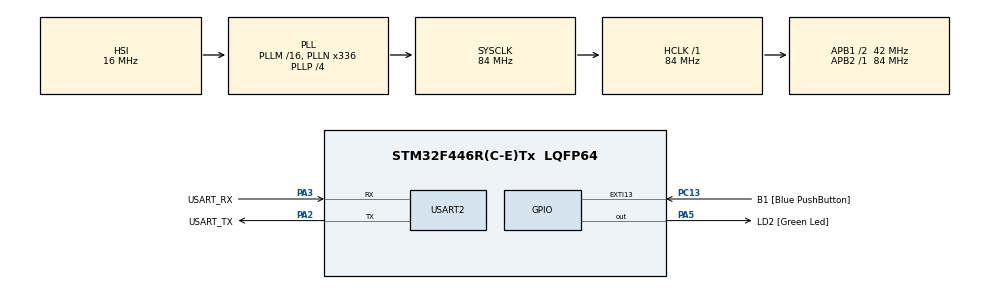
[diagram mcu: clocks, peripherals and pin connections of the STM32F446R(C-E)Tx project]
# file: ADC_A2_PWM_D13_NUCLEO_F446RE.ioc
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Mcu.Family=STM32F4
Mcu.Name=STM32F446R(C-E)Tx
Mcu.Package=LQFP64
NVIC.PriorityGroup=NVIC_PRIORITYGROUP_0
PA13.GPIO_Label=TMS
PA13.Mode=Serial_Wire
PA13.Signal=SYS_JTMS-SWDIO
PA14.GPIO_Label=TCK
PA14.Mode=Serial_Wire
PA14.Signal=SYS_JTCK-SWCLK
PA2.GPIO_Label=USART_TX
PA2.Mode=Asynchronous
PA2.Signal=USART2_TX
PA3.GPIO_Label=USART_RX
PA3.Mode=Asynchronous
PA3.Signal=USART2_RX
PA5.GPIO_Label=LD2 [Green Led]
PA5.Signal=GPIO_Output
PB3.GPIO_Label=SWO
PB3.Signal=SYS_JTDO-SWO
PC13.GPIO_Label=B1 [Blue PushButton]
PC13.GPIO_ModeDefaultEXTI=GPIO_MODE_IT_FALLING
PC13.Signal=GPXTI13
PC14-OSC32_IN.Mode=LSE-External-Oscillator
PC14-OSC32_IN.Signal=RCC_OSC32_IN
PC15-OSC32_OUT.Mode=LSE-External-Oscillator
PC15-OSC32_OUT.Signal=RCC_OSC32_OUT
PH0-OSC_IN.Mode=HSE-External-Oscillator
PH0-OSC_IN.Signal=RCC_OSC_IN
PH1-OSC_OUT.Mode=HSE-External-Oscillator
PH1-OSC_OUT.Signal=RCC_OSC_OUT
ProjectManager.HeapSize=0x200
ProjectManager.StackSize=0x400
ProjectManager.TargetToolchain=STM32CubeIDE
RCC.48MHZClocksFreq_Value=84000000
RCC.AHBFreq_Value=84000000
RCC.APB1CLKDivider=RCC_HCLK_DIV2
RCC.APB1Freq_Value=42000000
RCC.APB1TimFreq_Value=84000000
RCC.APB2Freq_Value=84000000
RCC.APB2TimFreq_Value=84000000
RCC.CortexFreq_Value=84000000
RCC.FLatency-AdvancedSettings=FLASH_LATENCY_2
RCC.HCLKFreq_Value=84000000
RCC.HSE_VALUE=8000000
RCC.HSI_VALUE=16000000
RCC.PLLN=336
RCC.PLLP=RCC_PLLP_DIV4
RCC.SYSCLKFreq_VALUE=84000000
RCC.SYSCLKSource=RCC_SYSCLKSOURCE_PLLCLK
RCC.USBFreq_Value=168000000
RCC.VCOOutputFreq_Value=336000000
USART2.VirtualMode=VM_ASYNC
board=NUCLEO-F446RE

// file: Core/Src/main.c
/* USER CODE BEGIN Header */
/**
  ******************************************************************************
  * @file           : main.c
  * @brief          : Main program body
  * Este programa lee un potenciómetro conectado a A2 / PA4 mediante ADC1_IN4.
  * La lectura del ADC se realiza por polling y entrega un valor entre 0 y 4095.
  * Ese valor se escala al rango 0 a 1000 y se escribe en TIM2->CCR1, que define
  * el duty cycle de una señal PWM de 1 kHz generada por TIM2_CH1. La señal PWM
  * sale por PA5 / D13 / LD2. Al mover el potenciómetro, la frecuencia se
  * mantiene fija y cambia el ancho del pulso en alto.
  ******************************************************************************
  * @attention
  *
  * Copyright (c) 2026 STMicroelectronics.
  * All rights reserved.
  *
  * This software is licensed under terms that can be found in the LICENSE file
  * in the root directory of this software component.
  * If no LICENSE file comes with this software, it is provided AS-IS.
  *
  ******************************************************************************
  */
/* USER CODE END Header */
#include "main.h"

/* USER CODE BEGIN PD */
#define ADC_MAX_VALUE          4095UL
#define PWM_PERIOD_COUNTS      1000UL   /* ARR + 1 */
/* USER CODE END PD */

UART_HandleTypeDef huart2;

void SystemClock_Config(void);
static void MX_GPIO_Init(void);
static void MX_USART2_UART_Init(void);

/* USER CODE BEGIN PFP */
static void ADC1_PA4_Init_ByRegisters(void);
static uint32_t ADC1_ReadRaw(void);

static void TIM2_CH1_PA5_PWM_Init_ByRegisters(void);
static void PWM_SetDutyFromADC(uint32_t adc_raw);
/* USER CODE END PFP */

/* USER CODE BEGIN 0 */
/* -------------------------------------------------------------
 * ADC1 en PA4 / A2
 * -------------------------------------------------------------
 * A2 en la NUCLEO-F446RE está conectado a PA4.
 * PA4 puede funcionar como ADC1_IN4.
 */
static void ADC1_PA4_Init_ByRegisters(void)
{
    /*
     * 1. Habilitar reloj de GPIOA
     */
    RCC->AHB1ENR |= RCC_AHB1ENR_GPIOAEN;
    (void)RCC->AHB1ENR;

    /*
     * 2. Configurar PA4 en modo analógico
     *
     * MODER4 = 11 → analog mode
     */
    GPIOA->MODER |= (3UL << (4U * 2U));

    /*
     * 3. Sin pull-up ni pull-down
     */
    GPIOA->PUPDR &= ~(3UL << (4U * 2U));

    /*
     * 4. Habilitar reloj de ADC1
     *
     * ADC1 pertenece al bus APB2.
     */
    RCC->APB2ENR |= RCC_APB2ENR_ADC1EN;
    (void)RCC->APB2ENR;

    /*
     * 5. Configurar prescaler común del ADC
     *
     * PCLK2 = 84 MHz
     * ADC clock = PCLK2 / 4 = 21 MHz
     *
     * En ADC->CCR, ADCPRE[1:0] está en bits 17:16.
     * 01 → PCLK2 dividido por 4.
     */
    ADC->CCR &= ~(3UL << 16U);
    ADC->CCR |=  (1UL << 16U);

    /*
     * 6. Configuración básica del ADC
     *
     * CR1 = 0:
     * - Resolución por defecto: 12 bits
     * - Scan mode deshabilitado
     *
     * CR2 = 0:
     * - Conversión continua deshabilitada
     * - Alineación a la derecha
     * - Disparo por software
     */
    ADC1->CR1 = 0U;
    ADC1->CR2 = 0U;

    /*
     * 7. Tiempo de muestreo para el canal 4
     *
     * Canal 4 usa SMP4 en ADC_SMPR2[14:12].
     * Valor 100 → 84 ciclos de ADC.
     */
    ADC1->SMPR2 &= ~(7UL << (4U * 3U));
    ADC1->SMPR2 |=  (4UL << (4U * 3U));

    /*
     * 8. Secuencia regular de una sola conversión
     *
     * L = 0000 → 1 conversión.
     */
    ADC1->SQR1 &= ~(0xFUL << 20U);

    /*
     * 9. Primera conversión de la secuencia: canal 4
     *
     * SQ1 = 4 → ADC_CHANNEL_4.
     */
    ADC1->SQR3 &= ~(0x1FUL << 0U);
    ADC1->SQR3 |=  (4UL << 0U);

    /*
     * 10. Asegurar alineación a la derecha,
     * conversión simple y disparo por software.
     */
    ADC1->CR2 &= ~ADC_CR2_ALIGN;
    ADC1->CR2 &= ~ADC_CR2_CONT;
    ADC1->CR2 &= ~ADC_CR2_EXTEN;

    /*
     * 11. Encender ADC1
     */
    ADC1->CR2 |= ADC_CR2_ADON;

    /*
     * Pequeña espera para estabilización.
     */
    HAL_Delay(1);
}

static uint32_t ADC1_ReadRaw(void)
{
    /*
     * Limpiar flag EOC antes de iniciar.
     */
    ADC1->SR &= ~ADC_SR_EOC;

    /*
     * Iniciar conversión regular por software.
     */
    ADC1->CR2 |= ADC_CR2_SWSTART;

    /*
     * Esperar hasta que termine la conversión.
     */
    while ((ADC1->SR & ADC_SR_EOC) == 0U)
    {
        /* Polling */
    }

    /*
     * Leer el registro de datos.
     * Para 12 bits, el valor útil va de 0 a 4095.
     */
    return (ADC1->DR & 0xFFFFUL);
}

/* -------------------------------------------------------------
 * PWM en PA5 / D13 / TIM2_CH1
 * -------------------------------------------------------------
 * PA5 está conectado a D13 y al LED LD2.
 * PA5 puede funcionar como TIM2_CH1 usando AF1.
 */
static void TIM2_CH1_PA5_PWM_Init_ByRegisters(void)
{
    /*
     * 1. Habilitar reloj de GPIOA
     */
    RCC->AHB1ENR |= RCC_AHB1ENR_GPIOAEN;
    (void)RCC->AHB1ENR;

    /*
     * 2. Configurar PA5 como función alternativa
     *
     * MODER5 = 10 → Alternate Function
     */
    GPIOA->MODER &= ~(3UL << (5U * 2U));
    GPIOA->MODER |=  (2UL << (5U * 2U));

    /*
     * 3. Salida push-pull
     */
    GPIOA->OTYPER &= ~(1UL << 5U);

    /*
     * 4. Velocidad alta para una señal PWM limpia
     */
    GPIOA->OSPEEDR &= ~(3UL << (5U * 2U));
    GPIOA->OSPEEDR |=  (2UL << (5U * 2U));

    /*
     * 5. Sin pull-up ni pull-down
     */
    GPIOA->PUPDR &= ~(3UL << (5U * 2U));

    /*
     * 6. Seleccionar AF1 para PA5
     *
     * AF1 corresponde a TIM2_CH1.
     * PA5 está en AFR[0].
     */
    GPIOA->AFR[0] &= ~(0xFUL << (5U * 4U));
    GPIOA->AFR[0] |=  (1UL   << (5U * 4U));

    /*
     * 7. Habilitar reloj de TIM2
     *
     * TIM2 pertenece a APB1.
     * En esta configuración:
     *
     * PCLK1 = 42 MHz
     * APB1 prescaler = /2
     * f_TIM2 = 2 x PCLK1 = 84 MHz
     */
    RCC->APB1ENR |= RCC_APB1ENR_TIM2EN;
    (void)RCC->APB1ENR;

    /*
     * 8. Detener TIM2 durante la configuración.
     */
    TIM2->CR1 &= ~TIM_CR1_CEN;

    /*
     * Queremos PWM de 1 kHz.
     *
     * f_TIM2 = 84 MHz
     *
     * Elegimos:
     * PSC = 83
     *
     * Entonces:
     * f_CNT = 84 MHz / (83 + 1)
     * f_CNT = 1 MHz
     *
     * Luego:
     * ARR = 999
     *
     * Entonces:
     * f_PWM = 1 MHz / (999 + 1)
     * f_PWM = 1 kHz
     */
    TIM2->PSC = 83U;
    TIM2->ARR = 999U;
    TIM2->CNT = 0U;

    /*
     * Duty inicial: 0 %
     */
    TIM2->CCR1 = 0U;

    /*
     * 9. Canal 1 como salida
     *
     * CC1S = 00 → canal configurado como salida.
     */
    TIM2->CCMR1 &= ~TIM_CCMR1_CC1S;

    /*
     * 10. Configurar canal 1 en PWM mode 1
     *
     * OC1M = 110 → PWM mode 1
     *
     * En PWM mode 1:
     * La salida está activa mientras CNT < CCR1.
     */
    TIM2->CCMR1 &= ~TIM_CCMR1_OC1M;
    TIM2->CCMR1 |=  (6UL << 4U);

    /*
     * 11. Habilitar preload de CCR1
     *
     * Esto hace que los cambios de CCR1 se apliquen
     * de forma ordenada en eventos de actualización.
     */
    TIM2->CCMR1 |= TIM_CCMR1_OC1PE;

    /*
     * 12. Polaridad activa en alto y habilitar salida CH1
     */
    TIM2->CCER &= ~TIM_CCER_CC1P;
    TIM2->CCER |=  TIM_CCER_CC1E;

    /*
     * 13. Habilitar preload de ARR
     */
    TIM2->CR1 |= TIM_CR1_ARPE;

    /*
     * 14. Conteo ascendente, edge-aligned
     */
    TIM2->CR1 &= ~TIM_CR1_CMS;
    TIM2->CR1 &= ~TIM_CR1_DIR;

    /*
     * 15. Generar evento de actualización para cargar PSC, ARR y CCR.
     */
    TIM2->EGR |= TIM_EGR_UG;

    /*
     * 16. Arrancar TIM2
     */
    TIM2->CR1 |= TIM_CR1_CEN;
}

static void PWM_SetDutyFromADC(uint32_t adc_raw)
{
    uint32_t ccr_value;

    /*
     * Limitar por seguridad el valor leído.
     */
    if (adc_raw > ADC_MAX_VALUE)
    {
        adc_raw = ADC_MAX_VALUE;
    }

    /*
     * Escalado:
     *
     * ADC:  0 a 4095
     * PWM:  0 a 1000 cuentas
     *
     * Como ARR = 999, el período tiene 1000 cuentas.
     *
     * CCR1 = 0    → 0 %
     * CCR1 = 500  → 50 %
     * CCR1 = 1000 → 100 %
     */
    ccr_value = (adc_raw * PWM_PERIOD_COUNTS) / ADC_MAX_VALUE;

    /*
     * Actualizar duty cycle.
     * El hardware del timer genera la PWM automáticamente.
     */
    TIM2->CCR1 = ccr_value;
}

/* USER CODE END 0 */

int main(void)
{

  /* MCU Configuration--------------------------------------------------------*/

  /* Reset of all peripherals, Initializes the Flash interface and the Systick. */
  HAL_Init();

  /* Configure the system clock */
  SystemClock_Config();

  /* Initialize all configured peripherals */
  MX_GPIO_Init();
  MX_USART2_UART_Init();
  /* USER CODE BEGIN 2 */
  ADC1_PA4_Init_ByRegisters();
  TIM2_CH1_PA5_PWM_Init_ByRegisters();
  /* USER CODE END 2 */

  /* Infinite loop */
  while (1)
  {

    /* USER CODE BEGIN 3 */
	  uint32_t adc_raw = ADC1_ReadRaw();

	   PWM_SetDutyFromADC(adc_raw);

	   /*
	    * Esta demora no genera la PWM.
	    * Solo reduce la frecuencia con la que actualizamos CCR1.
	    */
	   HAL_Delay(10);

  }
  /* USER CODE END 3 */
}

void SystemClock_Config(void)
{
  RCC_OscInitTypeDef RCC_OscInitStruct = {0};
  RCC_ClkInitTypeDef RCC_ClkInitStruct = {0};

  /** Configure the main internal regulator output voltage
  */
  __HAL_RCC_PWR_CLK_ENABLE();
  __HAL_PWR_VOLTAGESCALING_CONFIG(PWR_REGULATOR_VOLTAGE_SCALE3);

  /** Initializes the RCC Oscillators according to the specified parameters
  * in the RCC_OscInitTypeDef structure.
  */
  RCC_OscInitStruct.OscillatorType = RCC_OSCILLATORTYPE_HSI;
  RCC_OscInitStruct.HSIState = RCC_HSI_ON;
  RCC_OscInitStruct.HSICalibrationValue = RCC_HSICALIBRATION_DEFAULT;
  RCC_OscInitStruct.PLL.PLLState = RCC_PLL_ON;
  RCC_OscInitStruct.PLL.PLLSource = RCC_PLLSOURCE_HSI;
  RCC_OscInitStruct.PLL.PLLM = 16;
  RCC_OscInitStruct.PLL.PLLN = 336;
  RCC_OscInitStruct.PLL.PLLP = RCC_PLLP_DIV4;
  RCC_OscInitStruct.PLL.PLLQ = 2;
  RCC_OscInitStruct.PLL.PLLR = 2;
  if (HAL_RCC_OscConfig(&RCC_OscInitStruct) != HAL_OK)
  {
    Error_Handler();
  }

  /** Initializes the CPU, AHB and APB buses clocks
  */
  RCC_ClkInitStruct.ClockType = RCC_CLOCKTYPE_HCLK|RCC_CLOCKTYPE_SYSCLK
                              |RCC_CLOCKTYPE_PCLK1|RCC_CLOCKTYPE_PCLK2;
  RCC_ClkInitStruct.SYSCLKSource = RCC_SYSCLKSOURCE_PLLCLK;
  RCC_ClkInitStruct.AHBCLKDivider = RCC_SYSCLK_DIV1;
  RCC_ClkInitStruct.APB1CLKDivider = RCC_HCLK_DIV2;
  RCC_ClkInitStruct.APB2CLKDivider = RCC_HCLK_DIV1;

  if (HAL_RCC_ClockConfig(&RCC_ClkInitStruct, FLASH_LATENCY_2) != HAL_OK)
  {
    Error_Handler();
  }
}

static void MX_USART2_UART_Init(void)
{

  huart2.Instance = USART2;
  huart2.Init.BaudRate = 115200;
  huart2.Init.WordLength = UART_WORDLENGTH_8B;
  huart2.Init.StopBits = UART_STOPBITS_1;
  huart2.Init.Parity = UART_PARITY_NONE;
  huart2.Init.Mode = UART_MODE_TX_RX;
  huart2.Init.HwFlowCtl = UART_HWCONTROL_NONE;
  huart2.Init.OverSampling = UART_OVERSAMPLING_16;
  if (HAL_UART_Init(&huart2) != HAL_OK)
  {
    Error_Handler();
  }

}

static void MX_GPIO_Init(void)
{
  GPIO_InitTypeDef GPIO_InitStruct = {0};

  /* GPIO Ports Clock Enable */
  __HAL_RCC_GPIOC_CLK_ENABLE();
  __HAL_RCC_GPIOH_CLK_ENABLE();
  __HAL_RCC_GPIOA_CLK_ENABLE();
  __HAL_RCC_GPIOB_CLK_ENABLE();

  /*Configure GPIO pin Output Level */
  HAL_GPIO_WritePin(LD2_GPIO_Port, LD2_Pin, GPIO_PIN_RESET);

  /*Configure GPIO pin : B1_Pin */
  GPIO_InitStruct.Pin = B1_Pin;
  GPIO_InitStruct.Mode = GPIO_MODE_IT_FALLING;
  GPIO_InitStruct.Pull = GPIO_NOPULL;
  HAL_GPIO_Init(B1_GPIO_Port, &GPIO_InitStruct);

  /*Configure GPIO pin : LD2_Pin */
  GPIO_InitStruct.Pin = LD2_Pin;
  GPIO_InitStruct.Mode = GPIO_MODE_OUTPUT_PP;
  GPIO_InitStruct.Pull = GPIO_NOPULL;
  GPIO_InitStruct.Speed = GPIO_SPEED_FREQ_LOW;
  HAL_GPIO_Init(LD2_GPIO_Port, &GPIO_InitStruct);

}

void Error_Handler(void)
{
  __disable_irq();
  while (1)
  {
  }
}
